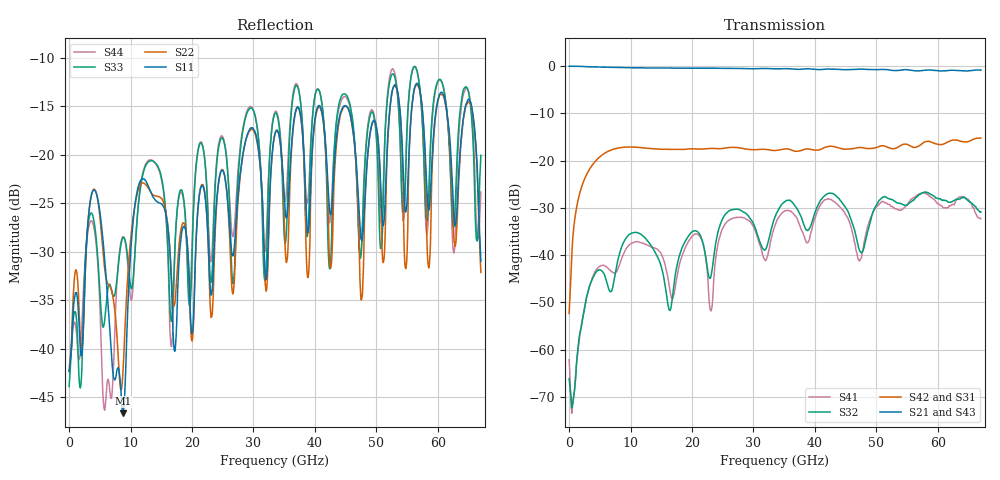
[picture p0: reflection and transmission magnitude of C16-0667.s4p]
! MARKI MICROWAVE INC.
! Email:  info@markimicrowave.com  Phone:  408-778-4200
! Model Number:  C16-0667  Date:  12/13
! Filename:		C16_0667.S4P  Version: 1.0
! Description:  4-port S-parameter data for Directional Coupler C16-0667
! Frequency Range: 	10 MHz to 67 GHz
! Port Configuration:	PORT 1: Input
!  PORT 2: Output
!  Port 3: Coupled
!  Port 4: Isolated
! S4P File: Measurements: Mag<S11> Ang<S11> Mag<S12> Ang<S12> Mag<S13> Ang<S13> Mag<S14> Ang<S14>! row 1
!  Mag<S21> Ang<S21> Mag<S22> Ang<S22> Mag<S23> Ang<S23> Mag<S24> Ang<S24>! row 2
!  Mag<S31> Ang<S31> Mag<S32> Ang<S32> Mag<S33> Ang<S33> Mag<S34> Ang<S34>! row 3
!  Mag<S41> Ang<S41> Mag<S42> Ang<S42> Mag<S43> Ang<S43> Mag<S44> Ang<S44>! row 4
# Hz S  dB  R 50
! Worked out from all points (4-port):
!   801 points, 10 MHz to 67 GHz, reference 50 ohm
!   strongest paths, dB at 10 MHz, 16.76 GHz, 33.51 GHz, 50.25 GHz, 67 GHz:
!     S21: 0.0, -0.4, -0.6, -0.7, -0.8
!     S43: 0.0, -0.4, -0.6, -0.8, -1.2
!     S42: -52.4, -17.6, -17.9, -17.1, -15.2
!     S31: -54.6, -17.6, -17.9, -17.1, -15.1
!     S32: -66.1, -49.6, -31.9, -28.8, -30.9
!     S41: -62.1, -49.2, -33.8, -29.5, -32.2
!   lowest |S11| = -46.6 dB at 8.802 GHz (marker M1), VSWR 1.01, Z = 49.8 + j0.438 ohm
!   |S11| at or under -10 dB: start of sweep to end of sweep
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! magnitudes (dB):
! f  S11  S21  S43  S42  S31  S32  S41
! 10 MHz  -42.3  0.0  0.0  -52.4  -54.6  -66.1  -62.1
! 4.113 GHz  -23.6  -0.2  -0.2  -20.4  -20.4  -44.2  -43.8
! 8.802 GHz  -46.6  -0.3  -0.3  -17.2  -17.2  -37.5  -39.9
! 11.57 GHz  -22.7  -0.4  -0.4  -17.2  -17.2  -35.5  -37.3
! 17.18 GHz  -40.3  -0.4  -0.4  -17.6  -17.6  -45.1  -47.6
! 29.65 GHz  -17.2  -0.6  -0.6  -17.7  -17.7  -32.6  -33.2
! 67 GHz  -31.0  -0.8  -1.2  -15.2  -15.1  -30.9  -32.2
